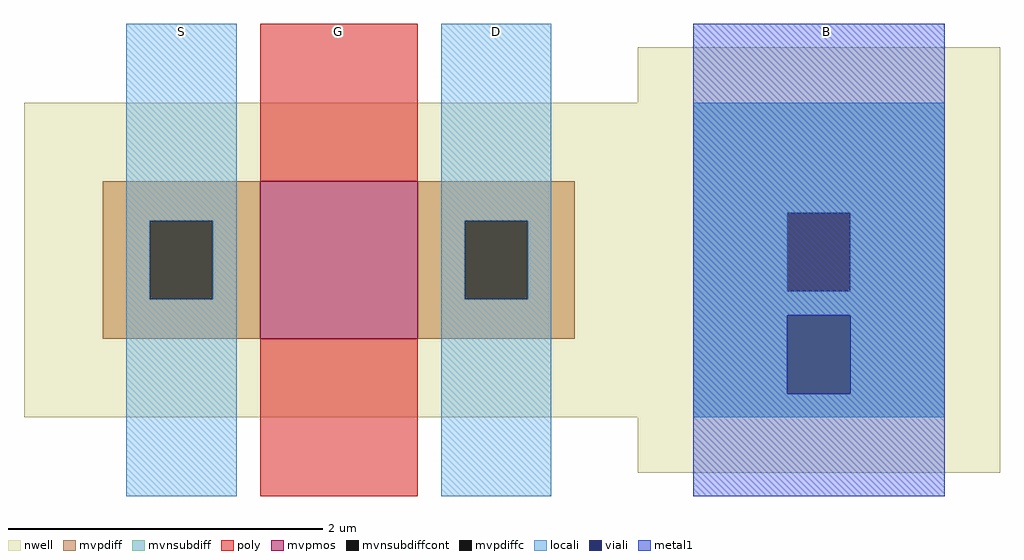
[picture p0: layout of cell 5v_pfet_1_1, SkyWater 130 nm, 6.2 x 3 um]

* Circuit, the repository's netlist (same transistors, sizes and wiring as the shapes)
* NGSPICE file created from 5v_pfet_1_1.ext - technology: sky130A

.subckt x5v_pfet_1_1 S B G D
X0 D G S B sky130_fd_pr__pfet_g5v0d10v5 ad=1 pd=4 as=1 ps=4 w=1 l=1
.ends

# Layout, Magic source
magic
tech sky130A
<< nwell >>
rect 240 150 470 185
rect -150 -50 470 150
rect 240 -85 470 -50
<< mvpmos >>
rect 0 0 100 100
<< mvpdiff >>
rect -100 75 0 100
rect -100 25 -70 75
rect -30 25 0 75
rect -100 0 0 25
rect 100 75 200 100
rect 100 25 130 75
rect 170 25 200 75
rect 100 0 200 25
<< mvpdiffc >>
rect -70 25 -30 75
rect 130 25 170 75
<< mvnsubdiff >>
rect 275 80 435 150
rect 275 30 335 80
rect 375 30 435 80
rect 275 -50 435 30
<< mvnsubdiffcont >>
rect 335 30 375 80
<< poly >>
rect 0 100 100 200
rect 0 -100 100 0
<< locali >>
rect -85 75 -15 200
rect -85 25 -70 75
rect -30 25 -15 75
rect -85 -100 -15 25
rect 115 75 185 200
rect 115 25 130 75
rect 170 25 185 75
rect 115 -100 185 25
rect 275 80 435 150
rect 275 30 335 80
rect 375 30 435 80
rect 275 15 435 30
rect 275 -35 335 15
rect 375 -35 435 15
rect 275 -50 435 -35
<< viali >>
rect 335 -35 375 15
<< metal1 >>
rect 275 15 435 200
rect 275 -35 335 15
rect 375 -35 435 15
rect 275 -100 435 -35
<< labels >>
rlabel locali -50 195 -50 195 5 S
port 1 s
rlabel poly 50 195 50 195 5 G
port 3 s
rlabel locali 150 195 150 195 5 D
port 4 s
rlabel metal1 360 195 360 195 5 B
port 2 s
<< end >>
